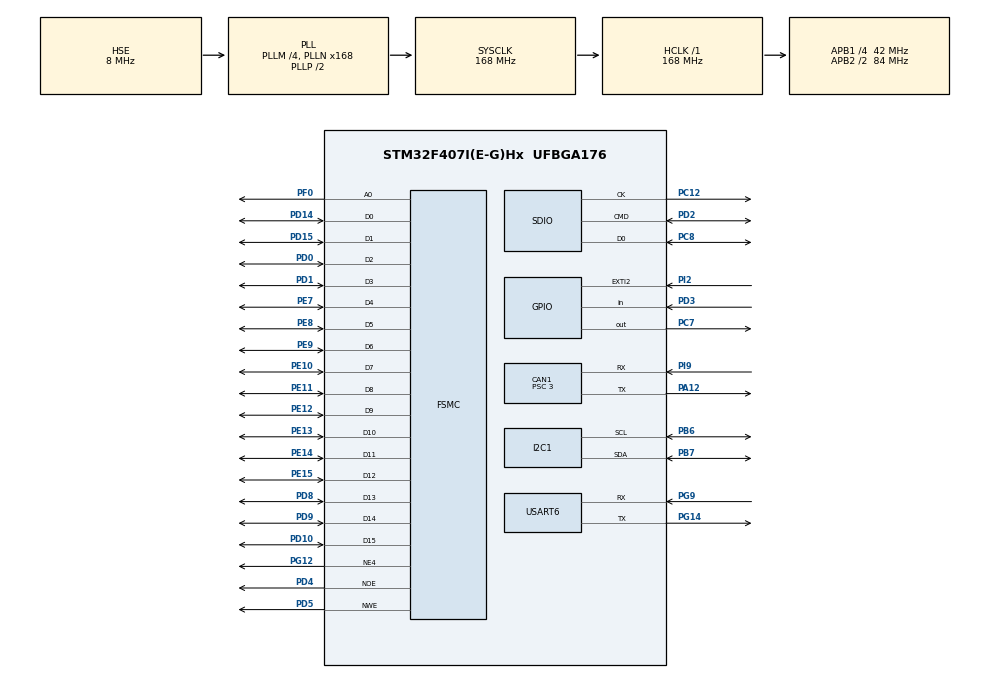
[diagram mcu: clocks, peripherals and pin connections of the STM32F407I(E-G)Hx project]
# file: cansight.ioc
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CAN1.BS1=CAN_BS1_11TQ
CAN1.BS2=CAN_BS2_2TQ
CAN1.CalculateBaudRate=1000000
CAN1.CalculateTimeBit=1000
CAN1.CalculateTimeQuantum=71.42857142857143
CAN1.Prescaler=3
Dma.Request0=SDIO_RX
Dma.Request1=SDIO_TX
Dma.SDIO_RX.0.Direction=DMA_PERIPH_TO_MEMORY
Dma.SDIO_RX.0.FIFOMode=DMA_FIFOMODE_ENABLE
Dma.SDIO_RX.0.FIFOThreshold=DMA_FIFO_THRESHOLD_FULL
Dma.SDIO_RX.0.Instance=DMA2_Stream3
Dma.SDIO_RX.0.MemBurst=DMA_MBURST_INC4
Dma.SDIO_RX.0.MemDataAlignment=DMA_MDATAALIGN_WORD
Dma.SDIO_RX.0.MemInc=DMA_MINC_ENABLE
Dma.SDIO_RX.0.Mode=DMA_PFCTRL
Dma.SDIO_RX.0.PeriphBurst=DMA_PBURST_INC4
Dma.SDIO_RX.0.PeriphDataAlignment=DMA_PDATAALIGN_WORD
Dma.SDIO_RX.0.PeriphInc=DMA_PINC_DISABLE
Dma.SDIO_RX.0.Priority=DMA_PRIORITY_LOW
Dma.SDIO_TX.1.Direction=DMA_MEMORY_TO_PERIPH
Dma.SDIO_TX.1.FIFOMode=DMA_FIFOMODE_ENABLE
Dma.SDIO_TX.1.FIFOThreshold=DMA_FIFO_THRESHOLD_FULL
Dma.SDIO_TX.1.Instance=DMA2_Stream6
Dma.SDIO_TX.1.MemBurst=DMA_MBURST_INC4
Dma.SDIO_TX.1.MemDataAlignment=DMA_MDATAALIGN_WORD
Dma.SDIO_TX.1.MemInc=DMA_MINC_ENABLE
Dma.SDIO_TX.1.Mode=DMA_PFCTRL
Dma.SDIO_TX.1.PeriphBurst=DMA_PBURST_INC4
Dma.SDIO_TX.1.PeriphDataAlignment=DMA_PDATAALIGN_WORD
Dma.SDIO_TX.1.PeriphInc=DMA_PINC_DISABLE
Dma.SDIO_TX.1.Priority=DMA_PRIORITY_LOW
FATFS.BSP.number=1
FATFS._CODE_PAGE=936
FATFS._FS_LOCK=4
FATFS._MAX_SS=4096
FATFS._USE_LFN=2
FATFS0.BSP.STBoard=false
FATFS0.BSP.api=Unknown
FATFS0.BSP.instance=PD3
FATFS0.BSP.ip=GPIO
FATFS0.BSP.mode=Input
FATFS0.BSP.name=Detect_SDIO
FATFS0.BSP.solution=PD3
FSMC.BusTurnAroundDuration4=0
FSMC.DataSetupTime4=9
FSMC.ExtendedBusTurnAroundDuration4=0
FSMC.ExtendedDataSetupTime4=9
FSMC.ExtendedMode4=FSMC_EXTENDED_MODE_ENABLE
Mcu.Family=STM32F4
Mcu.Name=STM32F407I(E-G)Hx
Mcu.Package=UFBGA176
NVIC.CAN1_RX0_IRQn=true\:0\:0\:false\:false\:true\:true\:true\:true
NVIC.DMA2_Stream3_IRQn=true\:0\:0\:false\:false\:true\:false\:true\:true
NVIC.DMA2_Stream6_IRQn=true\:0\:0\:false\:false\:true\:false\:true\:true
NVIC.EXTI2_IRQn=true\:0\:0\:false\:false\:true\:true\:true\:true
NVIC.PriorityGroup=NVIC_PRIORITYGROUP_4
NVIC.SDIO_IRQn=true\:0\:0\:false\:false\:true\:true\:true\:true
NVIC.TIM2_IRQn=true\:0\:0\:false\:false\:true\:true\:true\:true
PA12.Mode=CAN_Activate
PA12.Signal=CAN1_TX
PA13.Mode=Serial_Wire
PA13.Signal=SYS_JTMS-SWDIO
PA14.Mode=Serial_Wire
PA14.Signal=SYS_JTCK-SWCLK
PB6.Mode=I2C
PB6.Signal=I2C1_SCL
PB7.Mode=I2C
PB7.Signal=I2C1_SDA
PC10.Signal=SDIO_D2
PC11.Signal=SDIO_D3
PC12.Mode=SD_1_bit
PC12.Signal=SDIO_CK
PC7.PinState=GPIO_PIN_SET
PC7.Signal=GPIO_Output
PC8.Mode=SD_1_bit
PC8.Signal=SDIO_D0
PC9.Signal=SDIO_D1
PD0.Signal=FSMC_D2_DA2
PD1.Signal=FSMC_D3_DA3
PD10.Signal=FSMC_D15_DA15
PD14.Signal=FSMC_D0_DA0
PD15.Signal=FSMC_D1_DA1
PD2.Mode=SD_1_bit
PD2.Signal=SDIO_CMD
PD3.Signal=GPIO_Input
PD4.Signal=FSMC_NOE
PD5.Signal=FSMC_NWE
PD8.Signal=FSMC_D13_DA13
PD9.Signal=FSMC_D14_DA14
PE10.Signal=FSMC_D7_DA7
PE11.Signal=FSMC_D8_DA8
PE12.Signal=FSMC_D9_DA9
PE13.Signal=FSMC_D10_DA10
PE14.Signal=FSMC_D11_DA11
PE15.Signal=FSMC_D12_DA12
PE7.Signal=FSMC_D4_DA4
PE8.Signal=FSMC_D5_DA5
PE9.Signal=FSMC_D6_DA6
PF0.Signal=FSMC_A0
PG12.Mode=NorPsramChipSelect4_4
PG12.Signal=FSMC_NE4
PG14.Mode=Asynchronous
PG14.Signal=USART6_TX
PG9.Mode=Asynchronous
PG9.Signal=USART6_RX
PH0-OSC_IN.Mode=HSE-External-Oscillator
PH0-OSC_IN.Signal=RCC_OSC_IN
PH1-OSC_OUT.Mode=HSE-External-Oscillator
PH1-OSC_OUT.Signal=RCC_OSC_OUT
PI2.GPIO_ModeDefaultEXTI=GPIO_MODE_IT_FALLING
PI2.Signal=GPXTI2
PI9.Mode=CAN_Activate
PI9.Signal=CAN1_RX
ProjectManager.HeapSize=0x200
ProjectManager.StackSize=0x1000
ProjectManager.TargetToolchain=CMake
RCC.48MHZClocksFreq_Value=48000000
RCC.AHBFreq_Value=168000000
RCC.APB1CLKDivider=RCC_HCLK_DIV4
RCC.APB1Freq_Value=42000000
RCC.APB1TimFreq_Value=84000000
RCC.APB2CLKDivider=RCC_HCLK_DIV2
RCC.APB2Freq_Value=84000000
RCC.APB2TimFreq_Value=168000000
RCC.CortexFreq_Value=168000000
RCC.HCLKFreq_Value=168000000
RCC.HSE_VALUE=8000000
RCC.HSI_VALUE=16000000
RCC.LSE_VALUE=32768
RCC.PLLM=4
RCC.PLLN=168
RCC.PLLQ=7
RCC.PLLSourceVirtual=RCC_PLLSOURCE_HSE
RCC.SYSCLKFreq_VALUE=168000000
RCC.SYSCLKSource=RCC_SYSCLKSOURCE_PLLCLK
RCC.VCOOutputFreq_Value=336000000
SH.FSMC_A0.0=FSMC_A0,A0_4
SH.FSMC_D0_DA0.0=FSMC_D0,16b-d4
SH.FSMC_D10_DA10.0=FSMC_D10,16b-d4
SH.FSMC_D11_DA11.0=FSMC_D11,16b-d4
SH.FSMC_D12_DA12.0=FSMC_D12,16b-d4
SH.FSMC_D13_DA13.0=FSMC_D13,16b-d4
SH.FSMC_D14_DA14.0=FSMC_D14,16b-d4
SH.FSMC_D15_DA15.0=FSMC_D15,16b-d4
SH.FSMC_D1_DA1.0=FSMC_D1,16b-d4
SH.FSMC_D2_DA2.0=FSMC_D2,16b-d4
SH.FSMC_D3_DA3.0=FSMC_D3,16b-d4
SH.FSMC_D4_DA4.0=FSMC_D4,16b-d4
SH.FSMC_D5_DA5.0=FSMC_D5,16b-d4
SH.FSMC_D6_DA6.0=FSMC_D6,16b-d4
SH.FSMC_D7_DA7.0=FSMC_D7,16b-d4
SH.FSMC_D8_DA8.0=FSMC_D8,16b-d4
SH.FSMC_D9_DA9.0=FSMC_D9,16b-d4
SH.FSMC_NOE.0=FSMC_NOE,Lcd4
SH.FSMC_NWE.0=FSMC_NWE,Lcd4
TIM2.ClockDivision=TIM_CLOCKDIVISION_DIV2
TIM2.Prescaler=83
USART6.VirtualMode=VM_ASYNC
VP_FATFS_VS_SDIO.Mode=SDIO
VP_TIM2_VS_ClockSourceINT.Mode=Internal
board=custom

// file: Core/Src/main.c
/* USER CODE BEGIN Header */
/**
 ******************************************************************************
 * @file           : main.c
 * @brief          : Main program body
 ******************************************************************************
 * @attention
 *
 * Copyright (c) 2026 STMicroelectronics.
 * All rights reserved.
 *
 * This software is licensed under terms that can be found in the LICENSE file
 * in the root directory of this software component.
 * If no LICENSE file comes with this software, it is provided AS-IS.
 *
 ******************************************************************************
 */
/* USER CODE END Header */
#include "main.h"
#include "can.h"
#include "dma.h"
#include "fatfs.h"
#include "i2c.h"
#include "sdio.h"
#include "tim.h"
#include "usart.h"
#include "gpio.h"
#include "fsmc.h"

/* USER CODE BEGIN Includes */
#include <stdio.h>
#include <string.h>
#include "can_logger.h"
#include "can_timestamp.h"
#include "can_stats.h"
#include "log_player.h"
#include "lv_port_disp.h"
#include "lv_port_indev.h"
#include "gt911.h"
#include "lvgl/core/lv_obj_pos.h"
#include "ui.h"
/* USER CODE END Includes */

/* USER CODE BEGIN PD */
// 接收队列总槽位数，必须是 2 的整数次幂；保留一个空槽位，实际可暂存 2047 帧。
#define CAN_RX_QUEUE_SIZE 2048U
// 主循环每批最多处理的帧数，达到上限后给其他工作执行机会。
#define CAN_RX_BATCH_SIZE 256U
// 每批接收处理的时间预算，单位 us；只在帧与帧之间检查，不能中断正在执行的写卡操作。
#define CAN_RX_BATCH_BUDGET_US 2000U
// LVGL 服务的最小调度间隔，单位 ms；处理触摸和绘制，页面统计数据另按 500 ms 更新。
#define CAN_UI_INTERVAL_MS 5U
// 队列积压达到此帧数时，暂缓 LVGL 服务，优先处理接收。
#define CAN_UI_PAUSE_DEPTH 256U
// 积压降到此帧数后恢复 LVGL；与暂停阈值错开，避免反复切换。
#define CAN_UI_RESUME_DEPTH 64U
// 历史文件浏览的最小调度间隔，单位 ms；不用于限制 CAN 回放发送。
#define CAN_HISTORY_INTERVAL_MS 5U
// 仅在接收积压不超过此帧数时，允许推进历史文件访问。
#define CAN_HISTORY_QUEUE_LIMIT 128U
// 最后一次观察到新接收后，至少等待此时间再打印一次摘要，单位 ms；不是周期打印。
#define CAN_SUMMARY_IDLE_MS 1500U
// 诊断文字发送缓冲区大小，单位字节；与保存 CanFrame 的接收队列不同。
#define CAN_SERIAL_BUFFER_SIZE 2048U
// 编译时检查：掩码循环要求队列大小至少为 2，且是 2 的整数次幂。
#if (CAN_RX_QUEUE_SIZE < 2U) || ((CAN_RX_QUEUE_SIZE & (CAN_RX_QUEUE_SIZE - 1U)) != 0U)
#error "CAN_RX_QUEUE_SIZE must be a power of two and at least two"
#endif
// 队列索引使用 uint16_t，最多能编号 65536 个槽位；实际容量还受 CCM 大小限制。
#if CAN_RX_QUEUE_SIZE > 65536U
#error "CAN RX queue indices require a wider type"
#endif

// 与此掩码按位与，可在越过数组末尾时将索引绕回开头。
#define CAN_RX_QUEUE_MASK (CAN_RX_QUEUE_SIZE - 1U)
/* USER CODE END PD */

/* USER CODE BEGIN PV */

// 接收帧数组放在 CCMRAM：2048 × 24 字节 = 48 KiB；仅 CPU 访问，DMA 不访问此数组。
static CanFrame canRxQueue[CAN_RX_QUEUE_SIZE] __attribute__((section(".ccmram.rx_queue"), aligned(8)));
// 1 表示因接收积压暂缓界面服务，仅由主循环读写。
static uint8_t canUiDeferred;
// printf 生成的诊断文字先存于此处，主循环再轮询发送；中断中不调用 printf。
static uint8_t canSerialBuffer[CAN_SERIAL_BUFFER_SIZE];
// head 是下一个写入位置，tail 是下一个发送位置；两者都只在主循环上下文使用。
static uint16_t canSerialHead, canSerialTail;
// 串口缓冲区满时丢弃的字符数，不是丢失的 CAN 帧数。
static uint32_t canSerialDropped;

// head 由接收中断写入，tail 由主循环写入；两边读取对方索引判断队列状态。
// volatile 保证读取实际内存中的索引值，帧内容与索引的访问顺序另由 __DMB() 保证。
static volatile uint16_t canRxQueueHead = 0U;
static volatile uint16_t canRxQueueTail = 0U;

// 已从硬件 FIFO 取出，但因软件队列满而被丢弃的帧数。
static volatile uint32_t canRxQueueOverflow = 0U;

// 成功从 CAN 硬件 FIFO0 取出的帧数，不表示已入队或已保存到 SD 卡。
static volatile uint32_t canRxFramesReadFromFifo = 0U;

// HAL 报告的硬件 FIFO0 溢出事件数，不能据此确定实际丢失了多少帧。
static volatile uint32_t canRxFifo0OverrunEvents = 0U;

// 累积保留出现过的 CAN 错误位；不同错误通过按位或合并，不是当前硬件状态。
static volatile uint32_t canHalErrorFlags = 0U;
// 1 表示 main 中的 CAN 状态检查、过滤器配置、启动或中断通知配置失败。
static uint8_t canStartupFailed = 0U;
// 接收队列的历史最大占用帧数；仅由接收中断更新，不代表当前积压。
static volatile uint32_t canRxQueuePeak;

/* USER CODE END PV */

void SystemClock_Config(void);
/* USER CODE BEGIN PFP */
static uint32_t CAN_RxQueue_Depth(void);
static uint8_t CAN_RxQueue_PushFromISR(const CanFrame *frame);
static uint8_t CAN_RxQueue_Pop(CanFrame *frame);
static void CAN_ServiceSerial(void);
static void CAN_PublishRuntime(void);
static void CAN_PrintSummary(void);
static void CAN_RequestArchive(void);
/* USER CODE END PFP */

/* USER CODE BEGIN 0 */

// 主循环调用：返回当前尚未取出的帧数，不改变读写位置。
// 中断可能随时继续入队，因此结果只代表读取时附近的队列状态。
static uint32_t CAN_RxQueue_Depth(void)
{
  return ((uint32_t)canRxQueueHead - canRxQueueTail) & CAN_RX_QUEUE_MASK;
}

// CAN 接收中断调用：将 frame 指向的一帧复制入队，供主循环稍后处理。
// 返回 1 表示成功；返回 0 表示队列已满，本帧被丢弃并计入软件丢帧数。
static uint8_t CAN_RxQueue_PushFromISR(const CanFrame *frame)
{
  // 取得当前写入位置 head
  uint32_t head = canRxQueueHead;

  // 先计算写完本槽位后的位置；到达数组末尾时通过掩码绕回 0。
  uint32_t nextHead = (head + 1U) & CAN_RX_QUEUE_MASK;

  // 若再前进一格就追上读取位置，说明只剩保留空槽，队列已满。
  if (nextHead == canRxQueueTail)
  {
    canRxQueueOverflow++;
    return 0U;
  }

  // 先复制完整帧，随后才能通知主循环这里已有新数据。
  canRxQueue[head] = *frame;

  // 数据内存屏障：保证帧内容先写完，再更新 head，防止主循环读取到半帧数据。
  __DMB();

  // 完成入队后更新写入位置，并记录队列占用峰值
  canRxQueueHead = (uint16_t)nextHead;
  uint32_t depth = (nextHead - canRxQueueTail) & CAN_RX_QUEUE_MASK;
  if(depth > canRxQueuePeak) canRxQueuePeak = depth;

  return 1U;
}

// 主循环调用：取出队首帧并复制到 frame 指向的变量，随后释放该槽位。
// 返回 1 表示成功；返回 0 表示队列为空，不等待新帧。
static uint8_t CAN_RxQueue_Pop(CanFrame *frame)
{
  uint32_t tail = canRxQueueTail;

  // 读写位置相同表示队列为空。
  if (tail == canRxQueueHead)
  {
    return 0U;
  }

  // 确认 head 已前进后，再读取该槽位内已经写好的帧内容。
  __DMB();

  // 复制到主循环自己的变量，后续处理不再依赖这个队列槽位。
  *frame = canRxQueue[tail];

  // 保证复制完成后才更新 tail，避免中断提前复用这个槽位。
  __DMB();

  canRxQueueTail = (uint16_t)((tail + 1U) & CAN_RX_QUEUE_MASK);

  return 1U;
}

// 主循环调用：串口可写时发送一个诊断字符，没有待发字符或硬件未就绪时立即返回。
static void CAN_ServiceSerial(void)
{
  // 判断有没有待发字符
  if(canSerialHead == canSerialTail) return;
  // 判断串口现在能不能接收一个待发字符，并检查控制寄存器 CR1 中的两个开关是否都已打开
  if((READ_REG(USART6->SR) & USART_SR_TXE) != 0U &&
     (READ_REG(USART6->CR1) & (USART_CR1_UE | USART_CR1_TE)) == (USART_CR1_UE | USART_CR1_TE))
  {
    // 取一个字符，写入串口数据寄存器
    WRITE_REG(USART6->DR, canSerialBuffer[canSerialTail]);
    // 移动读取位置，释放这个软件槽位
    canSerialTail = (uint16_t)((canSerialTail + 1U) & (CAN_SERIAL_BUFFER_SIZE - 1U));
  }
}

// 主循环调用：收集 CAN、日志和队列状态，复制到统计模块，供界面读取。
// 当前运行状态与累计错误记录分开保存，历史错误不直接决定当前状态。
static void CAN_PublishRuntime(void)
{
  CanStatsRuntime runtime = {0};
  HAL_CAN_StateTypeDef state = HAL_CAN_GetState(&hcan1);
  uint32_t esr = READ_REG(hcan1.Instance->ESR);

  if(canStartupFailed != 0U || state == HAL_CAN_STATE_ERROR ||
     (esr & (CAN_ESR_EWGF | CAN_ESR_EPVF | CAN_ESR_BOFF)) != 0U)
  {
    runtime.can_state = CAN_STATS_ERROR;
  }
  else if(state == HAL_CAN_STATE_LISTENING)
  {
    runtime.can_state = CAN_STATS_RUNNING;
  }
  else
  {
    runtime.can_state = CAN_STATS_STOPPED;
  }

  // 中断可能在两次赋值之间更新计数，因此这些值不是严格同一时刻的整体快照。
  runtime.queue_lost = canRxQueueOverflow;
  runtime.fifo_overruns = canRxFifo0OverrunEvents;
  runtime.error_flags = canHalErrorFlags | HAL_CAN_GetError(&hcan1);
  runtime.sd_state = CanLogger_GetState();
  runtime.sd_error = CanLogger_GetLastError();
  runtime.fifo_frames = canRxFramesReadFromFifo;
  runtime.queue_depth = ((uint32_t)canRxQueueHead - canRxQueueTail) & CAN_RX_QUEUE_MASK;
  runtime.queue_peak = canRxQueuePeak;
  runtime.queue_capacity = CAN_RX_QUEUE_SIZE - 1U;
  CanLogger_GetDiagnostics(&runtime.logger);
  runtime.archive_state = CanLogger_GetArchiveState();
  snprintf(runtime.archive_name, sizeof(runtime.archive_name), "%s",
           CanLogger_GetLastArchiveName());
  CanStats_SetRuntime(&runtime);
}

// 主循环在接收静默、队列排空且无回放时调用，打印接收、记录和错误摘要。
// printf 只将文字写入串口缓冲区；各层计数含义不同，不能直接相加。
static void CAN_PrintSummary(void)
{
  CanLoggerDiagnostics log;
  CanLogger_GetDiagnostics(&log);
  printf("CAN: fifo=%lu processed=%lu lost=%lu overruns=%lu peak=%lu/%lu\r\n",
         (unsigned long)canRxFramesReadFromFifo, (unsigned long)CanStats_GetTotalCount(),
         (unsigned long)canRxQueueOverflow, (unsigned long)canRxFifo0OverrunEvents,
         (unsigned long)canRxQueuePeak, (unsigned long)(CAN_RX_QUEUE_SIZE - 1U));
  printf("SD: accepted=%lu written=%lu synced=%lu buffered=%lu rejected=%lu\r\n",
         (unsigned long)log.accepted_frames, (unsigned long)log.written_frames,
         (unsigned long)log.synced_frames, (unsigned long)log.buffered_frames,
         (unsigned long)log.rejected_frames);
  printf("ERROR: can=0x%08lX sd=%lu touch=%lu serial_dropped=%lu\r\n",
         (unsigned long)canHalErrorFlags, (unsigned long)CanLogger_GetLastError(),
         (unsigned long)lv_port_indev_get_io_errors(), (unsigned long)canSerialDropped);
}

// LVGL 归档按钮在主循环上下文中调用；只提交请求，文件操作交给日志模块处理。
static void CAN_RequestArchive(void)
{
  (void)CanLogger_RequestArchive();
}

/* USER CODE END 0 */

int main(void)
{

  /* MCU Configuration--------------------------------------------------------*/

  /* Reset of all peripherals, Initializes the Flash interface and the Systick. */
  HAL_Init();

  /* Configure the system clock */
  SystemClock_Config();

  /* Initialize all configured peripherals */
  MX_GPIO_Init();
  MX_DMA_Init();
  MX_CAN1_Init();
  MX_USART6_UART_Init();
  MX_TIM2_Init();
  MX_SDIO_SD_Init();
  MX_FATFS_Init();
  MX_FSMC_Init();
  MX_I2C1_Init();
  /* USER CODE BEGIN 2 */

  // CCM 队列使用 NOLOAD 段，启动汇编不会清零；启用 CAN 接收前先开时钟并清空数组。
  __HAL_RCC_CCMDATARAMEN_CLK_ENABLE();
  memset(canRxQueue, 0, sizeof(canRxQueue));

  // 复位 GT911 并选择 I2C 地址，保留当前板卡要求的先触摸复位、后 LCD 初始化顺序。
  init_gt911(GT911_I2C_SLAVE);

  // 初始化图形库、显示与触摸适配，再建立统计表、界面回调和控件。
  lv_init();
  lv_port_disp_init();
  lv_port_indev_init();
  CanStats_Init();
  ui_set_archive_callback(CAN_RequestArchive);
  ui_init();

  // 建立微秒时间基准，供接收时间戳和回放调度使用；失败时不继续启动采集。
  if(CanTimestamp_Start() == 0U)
  {
    Error_Handler();
  }

  // 挂载 SD 卡并准备 CANLOG.CSV；失败后仍继续启动 CAN 接收、界面和串口诊断。
  if (CanLogger_Init() == 0U)
  {
    printf("SD LOG: disabled; CAN reception will continue\r\n");
  }
  // 历史模块这里只保存根路径和初始状态，进入 SD 页面后才处理浏览请求。
  LogPlayer_Init(SDPath);

  // CAN 尚未启动时完成初始整屏绘制，避免首次全屏渲染占用接收处理窗口。
  CAN_PublishRuntime();
  lv_timer_handler();
  lv_refr_now(NULL);
  printf("CAN UI: period=500ms\r\n");

  // 配置全接收过滤器：掩码全为 0，不按 ID 排除标准帧、扩展帧或远程帧。
  CAN_FilterTypeDef canFilter = {0};

  canFilter.FilterBank = 0;                      // 使用过滤器组 0。
  canFilter.FilterMode = CAN_FILTERMODE_IDMASK;  // 按 ID 与掩码进行匹配。
  canFilter.FilterScale = CAN_FILTERSCALE_32BIT; // 使用单个 32 位过滤器。

  canFilter.FilterIdHigh = 0;                        // ID 高 16 位。
  canFilter.FilterIdLow = 0;                         // ID 低 16 位。
  canFilter.FilterMaskIdHigh = 0;                    // 掩码高 16 位为 0，不比较对应位。
  canFilter.FilterMaskIdLow = 0;                     // 掩码低 16 位为 0，不比较对应位。
  canFilter.FilterFIFOAssignment = CAN_FILTER_FIFO0; // 匹配帧进入硬件 FIFO0。
  canFilter.FilterActivation = ENABLE;               // 启用本组过滤器。
  canFilter.SlaveStartFilterBank = 14; // CAN1/CAN2 共用过滤器组的分界编号。

  // 开启 FIFO0 新帧、溢出及 CAN 错误通知；SCE 中断负责错误状态处理。
  uint32_t canNotifications = CAN_IT_RX_FIFO0_MSG_PENDING | CAN_IT_RX_FIFO0_OVERRUN |
      CAN_IT_ERROR_WARNING | CAN_IT_ERROR_PASSIVE | CAN_IT_BUSOFF |
      CAN_IT_LAST_ERROR_CODE | CAN_IT_ERROR;

  // 依次检查 CAN 状态、配置过滤器、启动和开启通知；
  // 任一步失败后记录错误，必要时停止 CAN；CPU 仍进入主循环，继续处理界面和诊断。
  if (HAL_CAN_GetState(&hcan1) != HAL_CAN_STATE_READY ||
      HAL_CAN_ConfigFilter(&hcan1, &canFilter) != HAL_OK ||
      HAL_CAN_Start(&hcan1) != HAL_OK ||
      HAL_CAN_ActivateNotification(&hcan1, canNotifications) != HAL_OK)
  {
    canStartupFailed = 1U;
    canHalErrorFlags |= HAL_CAN_GetError(&hcan1);
    // 部分启动成功后通知配置失败时，停止控制器，避免未处理的中断持续触发。
    if(HAL_CAN_GetState(&hcan1) == HAL_CAN_STATE_LISTENING)
    {
      (void)HAL_CAN_Stop(&hcan1);
    }
    printf("CAN1 start failed, HAL error=0x%08lX\r\n", (unsigned long)canHalErrorFlags);
  }
  else
  {
    // 错误状态中断独立于 RX0 中断，确保无接收报文时仍能记录总线错误。
    HAL_NVIC_SetPriority(CAN1_SCE_IRQn, 0, 0);
    HAL_NVIC_EnableIRQ(CAN1_SCE_IRQn);
    printf("CAN1 Sight Start\r\n");
  }

  // 更新启动结果，让界面能够显示运行中或错误
  CAN_PublishRuntime();

  // 保存各项调度的毫秒时间；减去间隔，让界面和历史服务在首轮即可满足时间条件。
  uint32_t lastUiTick = HAL_GetTick() - CAN_UI_INTERVAL_MS;
  uint32_t lastHistoryTick = HAL_GetTick() - CAN_HISTORY_INTERVAL_MS;
  uint32_t observedFifoCount = 0U;  // 上次观察到的硬件取帧累计数，用于判断是否继续来帧。
  uint32_t lastReceiveTick = HAL_GetTick();  // 最近观察到取帧计数变化的时刻。
  uint8_t summaryPending = 0U;  // 收到新帧后置 1，成功生成本轮摘要后清零。

  /* USER CODE END 2 */

  /* Infinite loop */
  while (1)
  {

    /* USER CODE BEGIN 3 */

    // 先尝试发送一个诊断字符；没有待发文字时立即返回。
    CAN_ServiceSerial();

    // 1. 推进 CAN 回放：检查发送结果和时间戳，到时提交下一帧，不等待历史浏览调度。
    LogPlayer_ReplayProcess();

    // 2. 分批处理接收队列：同时限制帧数和耗时，避免持续来帧占满整轮主循环。
    uint32_t batchStarted = (uint32_t)CanTimestamp_GetUs();
    CanFrame frame;

    // 队列为空或达到帧数上限时退出；每处理完一帧，再检查时间预算。
    for (uint32_t processed = 0U;
         processed < CAN_RX_BATCH_SIZE && CAN_RxQueue_Pop(&frame) != 0U;
         processed++)
    {
      // 日志通常先写 RAM 缓冲；空间不足或需要归档时，此调用也可能同步写卡。
      CanLogger_AddFrame(&frame);
      // 无论记录是否成功，都更新接收统计；界面筛选也不影响这里。
      CanStats_AddFrame(&frame);

      if((uint32_t)CanTimestamp_GetUs() - batchStarted >= CAN_RX_BATCH_BUDGET_US) break;
    }

    // 3. 推进日志同步和归档，再次服务回放，减少前面接收处理造成的发送延迟。
    CanLogger_Process();
    LogPlayer_ReplayProcess();

    // 4. 队列积压高时暂缓 LVGL，降到恢复阈值后再处理触摸、定时器和绘制。
    uint32_t uiQueueDepth = CAN_RxQueue_Depth();
    // 队列积压高时暂停 LVGL 绘制，避免卡顿
    if(uiQueueDepth >= CAN_UI_PAUSE_DEPTH) canUiDeferred = 1U;
    else if(uiQueueDepth <= CAN_UI_RESUME_DEPTH) canUiDeferred = 0U;
    // 判断是否允许处理文件：积压 ≤ 128 帧且间隔 ≥ 5 ms
    if(!canUiDeferred && HAL_GetTick() - lastUiTick >= CAN_UI_INTERVAL_MS)
    {
      // 持续更新队列积压、丢帧、SD 记录状态和错误等信息
      CAN_PublishRuntime();
      // LCD 显示：绘制界面
      lv_timer_handler();
      // 更新界面
      lastUiTick = HAL_GetTick();
    }

    // 5. 接收积压较少且达到调度间隔时，推进历史目录、索引、预览或删除请求。
    uint32_t queued = ((uint32_t)canRxQueueHead - canRxQueueTail) & CAN_RX_QUEUE_MASK;
    // 接收积压过低且达到调度间隔时，处理历史目录、索引、预览或删除请求。
    if(queued <= CAN_HISTORY_QUEUE_LIMIT &&
       HAL_GetTick() - lastHistoryTick >= CAN_HISTORY_INTERVAL_MS)
    {
      // 处理历史目录、索引、预览或删除请求
      LogPlayer_Process();
      lastHistoryTick = HAL_GetTick();
    }

    // 6. 取帧计数有变化就重新计时；静默达到 1.5 秒且接收、串口队列均为空、无回放时打印一次。
    uint32_t fifoCount = canRxFramesReadFromFifo;
    if(fifoCount != observedFifoCount)
    {
      observedFifoCount = fifoCount;
      lastReceiveTick = HAL_GetTick();
      summaryPending = 1U;
    }
    else if(summaryPending && !LogPlayer_ReplayBusy() && canRxQueueHead == canRxQueueTail &&
            canSerialHead == canSerialTail &&
            HAL_GetTick() - lastReceiveTick >= CAN_SUMMARY_IDLE_MS)
    {
      // 打印摘要
      summaryPending = 0U;
      CAN_PrintSummary();
    }

    // 7. 再尝试发送一个诊断字符；接收队列为空、无回放且无待发文字时才延时 1 ms。
    CAN_ServiceSerial();
    if(canRxQueueHead == canRxQueueTail && !LogPlayer_ReplayBusy() && canSerialHead == canSerialTail)
    {
      HAL_Delay(1);
    }
  }
  /* USER CODE END 3 */
}

void SystemClock_Config(void)
{
  RCC_OscInitTypeDef RCC_OscInitStruct = {0};
  RCC_ClkInitTypeDef RCC_ClkInitStruct = {0};

  /** Configure the main internal regulator output voltage
  */
  __HAL_RCC_PWR_CLK_ENABLE();
  __HAL_PWR_VOLTAGESCALING_CONFIG(PWR_REGULATOR_VOLTAGE_SCALE1);

  /** Initializes the RCC Oscillators according to the specified parameters
  * in the RCC_OscInitTypeDef structure.
  */
  RCC_OscInitStruct.OscillatorType = RCC_OSCILLATORTYPE_HSE;
  RCC_OscInitStruct.HSEState = RCC_HSE_ON;
  RCC_OscInitStruct.PLL.PLLState = RCC_PLL_ON;
  RCC_OscInitStruct.PLL.PLLSource = RCC_PLLSOURCE_HSE;
  RCC_OscInitStruct.PLL.PLLM = 4;
  RCC_OscInitStruct.PLL.PLLN = 168;
  RCC_OscInitStruct.PLL.PLLP = RCC_PLLP_DIV2;
  RCC_OscInitStruct.PLL.PLLQ = 7;
  if (HAL_RCC_OscConfig(&RCC_OscInitStruct) != HAL_OK)
  {
    Error_Handler();
  }

  /** Initializes the CPU, AHB and APB buses clocks
  */
  RCC_ClkInitStruct.ClockType = RCC_CLOCKTYPE_HCLK|RCC_CLOCKTYPE_SYSCLK
                              |RCC_CLOCKTYPE_PCLK1|RCC_CLOCKTYPE_PCLK2;
  RCC_ClkInitStruct.SYSCLKSource = RCC_SYSCLKSOURCE_PLLCLK;
  RCC_ClkInitStruct.AHBCLKDivider = RCC_SYSCLK_DIV1;
  RCC_ClkInitStruct.APB1CLKDivider = RCC_HCLK_DIV4;
  RCC_ClkInitStruct.APB2CLKDivider = RCC_HCLK_DIV2;

  if (HAL_RCC_ClockConfig(&RCC_ClkInitStruct, FLASH_LATENCY_5) != HAL_OK)
  {
    Error_Handler();
  }
}

/* USER CODE BEGIN 4 */
// printf 经底层输出接口在主循环上下文中调用：只将一个字符入队，不等待串口。
// 缓冲区满时丢弃该字符并计数，仍返回 ch；丢字符情况由摘要单独报告。
int __io_putchar(int ch)
{
  uint16_t next = (uint16_t)((canSerialHead + 1U) & (CAN_SERIAL_BUFFER_SIZE - 1U));
  if(next == canSerialTail)
  {
    canSerialDropped++;
    return ch;
  }
  canSerialBuffer[canSerialHead] = (uint8_t)ch;
  canSerialHead = next;
  return ch;
}

// HAL 在 CAN 接收中断上下文调用：取出 FIFO0 中的帧，添加时间戳并复制进软件队列。
// 此处不访问 FatFs、不更新界面、不打印文字；日志和统计交给主循环。
void HAL_CAN_RxFifo0MsgPendingCallback(CAN_HandleTypeDef *hcan)
{
  // 只处理本项目使用的 CAN1。
  if (hcan->Instance != CAN1)
  {
    return;
  }

  // 一次回调尽量取空硬件 FIFO0，避免只取一帧后其余帧继续占用硬件槽位。
  while (HAL_CAN_GetRxFifoFillLevel(hcan, CAN_RX_FIFO0) > 0U)
  {
    CAN_RxHeaderTypeDef header;
    uint8_t rxBytes[8] = {0};

    // 读取一帧的头信息和数据；成功后该硬件 FIFO 槽位被释放。
    if (HAL_CAN_GetRxMessage(
        hcan,
        CAN_RX_FIFO0,
        &header,
        rxBytes) != HAL_OK)
    {
      // 读取失败就退出本次回调，避免在中断中反复重试。
      break;
    }

    canRxFramesReadFromFifo++;

    // 将 HAL 的帧头和数据转换为项目共用的 CanFrame；零初始化清除未使用的数据字节。
    CanFrame frame = {0};

    // 记录 CPU 从 FIFO 取帧后的微秒时间，不是 CAN 控制器锁存的线上到达时刻。
    frame.timestamp_us = CanTimestamp_GetUs();
    frame.ide = (uint8_t)header.IDE;
    frame.rtr = (uint8_t)header.RTR;

    // 将 DLC 限制在 0～8，保护经典 CAN 的 data[8] 数组。
    frame.dlc = (header.DLC <= 8U) ? (uint8_t)header.DLC : 8U;

    // HAL 用不同字段保存标准帧和扩展帧 ID，这里统一写入 frame.id。
    if (header.IDE == CAN_ID_STD)
    {
      frame.id = header.StdId;
    }
    else
    {
      frame.id = header.ExtId;
    }

    // 仅数据帧复制有效字节；远程帧保留 DLC，但不携带数据字节。
    if (header.RTR == CAN_RTR_DATA)
    {
      for (uint8_t i = 0U; i < frame.dlc; i++)
      {
        frame.data[i] = rxBytes[i];
      }
    }

    // 入队时复制整帧，不保存局部变量的地址；队列满时由入队函数丢弃并计数。
    (void)CAN_RxQueue_PushFromISR(&frame);
  }
}

// HAL 在 CAN 中断上下文调用：累计错误位和 FIFO0 溢出事件，供主循环读取。
// 此回调只记录错误，不执行 Bus-off 恢复或重启控制器。
void HAL_CAN_ErrorCallback(CAN_HandleTypeDef *hcan)
{
  // 只处理本项目使用的 CAN1。
  if (hcan->Instance != CAN1)
  {
    return;
  }

  // 先读取 HAL 已记录的错误位，再合并到本项目的历史错误记录。
  uint32_t error = HAL_CAN_GetError(hcan);

  canHalErrorFlags |= error;

  // FIFO0 溢出按事件计数；一次事件可能对应不止一帧丢失。
  if ((error & HAL_CAN_ERROR_RX_FOV0) != 0U)
  {
    canRxFifo0OverrunEvents++;
  }

  // 清除 HAL 软件错误码，不清除上述历史记录，也不等于恢复 Bus-off。
  (void)HAL_CAN_ResetError(hcan);
}
/* USER CODE END 4 */

void Error_Handler(void)
{
  __disable_irq();
  while (1)
  {
  }
}
#ifdef USE_FULL_ASSERT
/**
  * @brief  Reports the name of the source file and the source line number
  *         where the assert_param error has occurred.
  * @param  file: pointer to the source file name
  * @param  line: assert_param error line source number
  * @retval None
  */
void assert_failed(uint8_t *file, uint32_t line)
{
  /* USER CODE BEGIN 6 */
  /* User can add his own implementation to report the file name and line
     number, ex: printf("Wrong parameters value: file %s on line %d\r\n", file,
     line) */
  /* USER CODE END 6 */
}
#endif /* USE_FULL_ASSERT */
